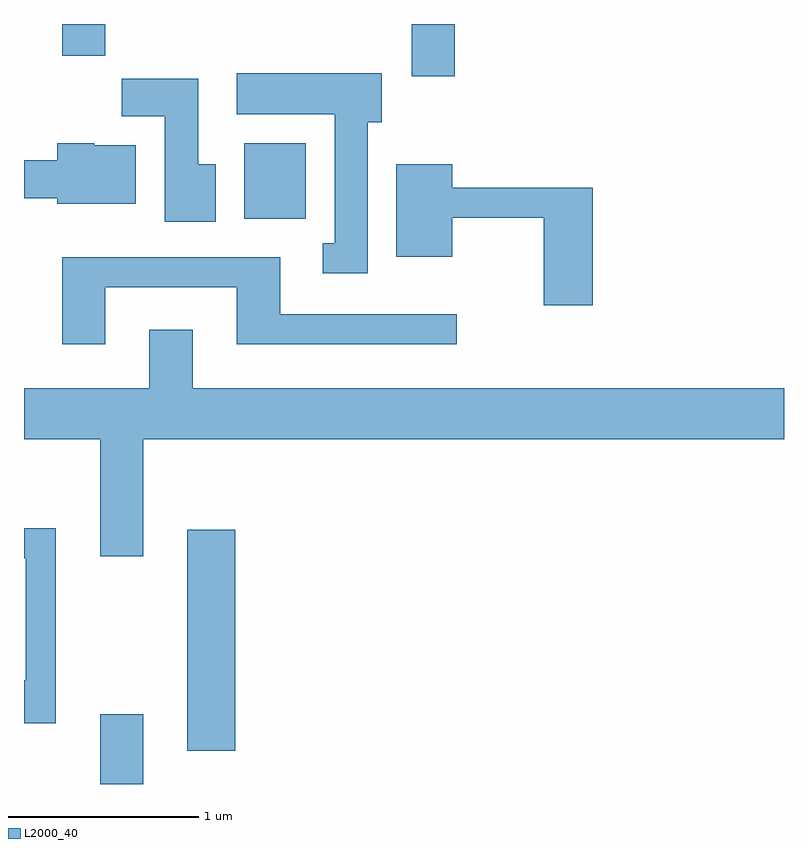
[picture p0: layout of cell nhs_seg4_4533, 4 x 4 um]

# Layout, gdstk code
import gdstk
lib = gdstk.Library(unit=1e-6, precision=1e-09)
def R(c, l, rs):  # rectangles x0, y0, x1, y1
    for r in rs: c.add(gdstk.rectangle(r[:2], r[2:], *l))
def P(c, l, *ps):  # polygons
    for p in ps: c.add(gdstk.Polygon(p, *l))
L2000_40 = (2000, 40)

nhs_seg4_4533 = lib.new_cell('nhs_seg4_4533')
R(nhs_seg4_4533, L2000_40, [(318.011,1343.982,318.239,1344.349), (318.471,1344.156,318.724,1345.319), (318.771,1346.956,319.094,1347.354), (319.651,1347.706,319.879,1347.982), (317.811,1347.816,318.039,1347.982)])
P(nhs_seg4_4533, L2000_40, [(319.419,1347.466),(319.494,1347.466),(319.494,1347.724),(318.731,1347.724),(318.731,1347.506),(319.246,1347.506),(319.246,1346.829),(319.183,1346.829),(319.183,1346.671),(319.419,1346.671)],
  [(318.619,1347.244),(318.529,1347.244),(318.529,1347.694),(318.126,1347.694),(318.126,1347.496),(318.351,1347.496),(318.351,1346.941),(318.619,1346.941)],
  [(318.199,1347.344),(317.98,1347.344),(317.98,1347.354),(317.786,1347.354),(317.786,1347.264),(317.611,1347.264),(317.611,1347.066),(317.786,1347.066),(317.786,1347.036),(318.199,1347.036)],
  [(320.604,1347.119),(319.864,1347.119),(319.864,1347.244),(319.571,1347.244),(319.571,1346.756),(319.864,1346.756),(319.864,1346.961),(320.346,1346.961),(320.346,1346.501),(320.604,1346.501)],
  [(318.039,1346.596),(318.731,1346.596),(318.731,1346.296),(319.888,1346.296),(319.888,1346.454),(318.959,1346.454),(318.959,1346.754),(317.811,1346.754),(317.811,1346.296),(318.039,1346.296)],
  [(318.239,1345.796),(321.611,1345.796),(321.611,1346.064),(318.499,1346.064),(318.499,1346.374),(318.271,1346.374),(318.271,1346.064),(317.611,1346.064),(317.611,1345.796),(318.011,1345.796),(318.011,1345.181),(318.239,1345.181)],
  [(317.779,1345.329),(317.611,1345.329),(317.611,1345.171),(317.621,1345.171),(317.621,1344.529),(317.611,1344.529),(317.611,1344.301),(317.779,1344.301)])

lib.write_gds('nhs_seg4_4533.gds')
